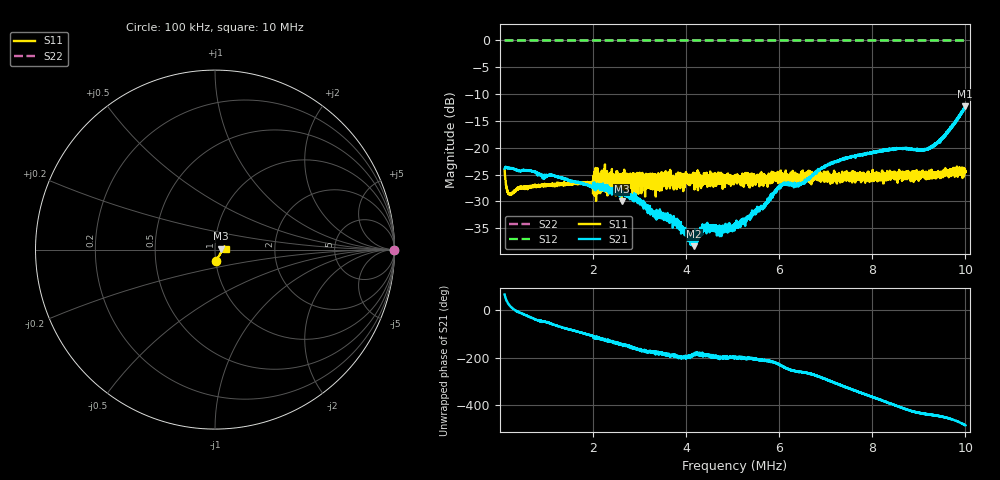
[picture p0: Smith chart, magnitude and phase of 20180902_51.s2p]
! Anritsu VNA Master:  Model: MS2026C/19
! SN:  1815009
! /card0/usr/20180902_51.s2p
! Existing Calibration Information:
! TYPE:  Current Settings,  Active Cal Settings
! TIME:  09/03/2018 01:40:56 AM,  09/02/2018 11:58:48 AM
! INTERNAL TEMP:  48.3 C,  48.8 C
! # POINTS:  4001,  4001
! START FREQ:  100.000 kHz,  100.000 kHz
! STOP FREQ:  10.000 MHz,  10.000 MHz
! SOURCE POWER:  Low,  Low
! IFBW:  500 Hz,  500 Hz
! AVG FACTOR:  5 ,  1
! REF PLANE 1:  0 mm,  0 mm
! REF PLANE 2:  0 mm,  0 mm
! CAL TYPE:  1P2P S11,S21,  1P2P S11,S21
! CAL METHOD:  SOLT,  SOLT
! CAL LINE TYPE:  Coax,  Coax
! DUT PORT 1:  N-Conn(M),  N-Conn(M)
! DUT PORT 2:  N-Conn(M),  N-Conn(M)
! CAL STATUS:  OK: Accuracy High,  --
# GHZ S RI R 50.0
! FREQ.GHZ  S11RE  S11IM  S21RE  S21IM  S12RE  S12IM  S22RE  S22IM
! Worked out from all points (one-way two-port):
!   4001 points, 100 kHz to 10 MHz, reference 50 ohm
!   highest |S21| = -12.25 dB at 9.998 MHz (marker M1); lowest = -38.4 dB at 4.169 MHz (marker M2)
!   lowest |S11| = -30.0 dB at 2.612 MHz (marker M3), VSWR 1.07, Z = 53.2 + j0.596 ohm
!   |S11| at or under -10 dB: start of sweep to end of sweep
!   |S22| runs from 0.0 to 0.0 dB; largest |S21 - S12| = 1.2
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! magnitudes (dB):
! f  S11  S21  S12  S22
! 100 kHz  -24.1  -23.9  0.0  0.0
! 166.8 kHz  -28.2  -23.8  0.0  0.0
! 221.3 kHz  -28.6  -23.8  0.0  0.0
! 451.4 kHz  -27.3  -24.4  0.0  0.0
! 1.751 MHz  -26.6  -26.7  0.0  0.0
! 2.612 MHz  -30.0  -28.2  0.0  0.0
! 3.402 MHz  -26.9  -32.7  0.0  0.0
! 3.795 MHz  -27.7  -33.8  0.0  0.0
! 4.082 MHz  -27.0  -36.9  0.0  0.0
! 4.169 MHz  -26.5  -38.4  0.0  0.0
! 4.431 MHz  -24.8  -34.7  0.0  0.0
! 5.05 MHz  -25.5  -34.1  0.0  0.0
! 5.666 MHz  -26.4  -31.1  0.0  0.0
! 6.045 MHz  -25.9  -27.1  0.0  0.0
! 6.409 MHz  -25.3  -26.8  0.0  0.0
! 6.701 MHz  -26.3  -25.1  0.0  0.0
! 7.347 MHz  -25.9  -22.3  0.0  0.0
! 8.352 MHz  -25.5  -20.4  0.0  0.0
! 9.255 MHz  -25.2  -19.8  0.0  0.0
! 9.537 MHz  -24.7  -17.8  0.0  0.0
! 9.998 MHz  -24.2  -12.2  0.0  0.0
! 10 MHz  -24.5  -12.5  0.0  0.0
